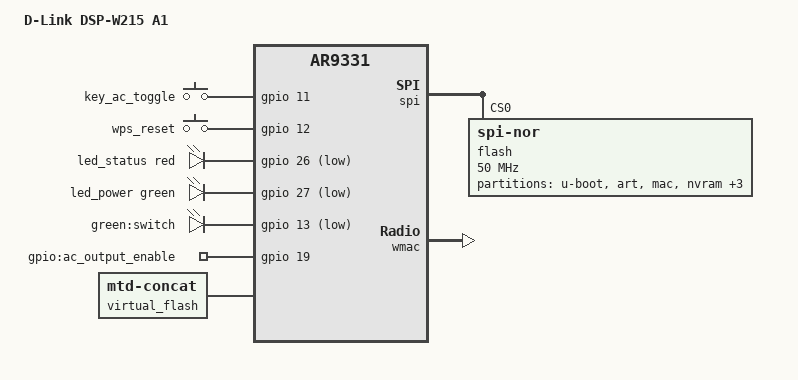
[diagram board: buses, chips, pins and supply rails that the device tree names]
// SPDX-License-Identifier: GPL-2.0-or-later OR MIT

#include <dt-bindings/gpio/gpio.h>
#include <dt-bindings/input/input.h>
#include <dt-bindings/leds/common.h>

#include "ar9331.dtsi"

/ {
	model = "D-Link DSP-W215 A1";
	compatible = "dlink,dsp-w215-a1", "qca,ar9331";

	aliases {
		label-mac-device = &wmac;
		led-boot = &led_power;
		led-failsafe = &led_status;
		led-running = &led_power;
		led-upgrade = &led_status;
	};

	keys {
		compatible = "gpio-keys";

		key_ac_toggle {
			label = "key_ac_toggle";
			linux,code = <BTN_0>;
			gpios = <&gpio 11 GPIO_ACTIVE_HIGH>;
		};

		wps_reset {
			label = "wps_reset";
			linux,code = <KEY_RESTART>;
			gpios = <&gpio 12 GPIO_ACTIVE_HIGH>;
		};
	};

	leds {
		compatible = "gpio-leds";

		led_status: status {
			function = LED_FUNCTION_STATUS;
			color = <LED_COLOR_ID_RED>;
			gpios = <&gpio 26 GPIO_ACTIVE_LOW>;
		};

		led_power: power {
			function = LED_FUNCTION_POWER;
			color = <LED_COLOR_ID_GREEN>;
			gpios = <&gpio 27 GPIO_ACTIVE_LOW>;
			default-state = "on";
		};

		switch {
			label = "green:switch";
			gpios = <&gpio 13 GPIO_ACTIVE_LOW>;
		};
	};

	gpio-export {
		compatible = "gpio-export";

		ac_output_enable {
			gpio-export,name = "gpio:ac_output_enable";
			gpio-export,output = <0>;
			gpios = <&gpio 19 GPIO_ACTIVE_HIGH>;
		};
	};

	virtual_flash {
		compatible = "mtd-concat";
		devices = <&fwconcat0 &fwconcat1>;

		partitions {
			compatible = "fixed-partitions";
			#address-cells = <1>;
			#size-cells = <1>;

			partition@0 {
				reg = <0x0 0x0>;
				label = "firmware";
				compatible = "openwrt,uimage", "denx,uimage";
			};
		};
	};
};

&spi {
	status = "okay";

	flash@0 {
		compatible = "jedec,spi-nor";
		reg = <0>;
		spi-max-frequency = <50000000>;

		partitions {
			compatible = "fixed-partitions";
			#address-cells = <1>;
			#size-cells = <1>;
			partition@0 {
				label = "u-boot";
				reg = <0x0 0x10000>;
				read-only;
			};

			art: partition@10000 {
				label = "art";
				reg = <0x10000 0x10000>;
				read-only;

				nvmem-layout {
					compatible = "fixed-layout";
					#address-cells = <1>;
					#size-cells = <1>;

					cal_art_1000: cal@1000 {
						reg = <0x1000 0x440>;
					};
				};
			};

			partition@20000 {
				label = "mac";
				reg = <0x20000 0x10000>;
				read-only;

				nvmem-layout {
					compatible = "fixed-layout";
					#address-cells = <1>;
					#size-cells = <1>;

					macaddr_mac_4: macaddr@4 {
						reg = <0x4 0x11>;
						#nvmem-cell-cells = <1>;
					};

					label-ssid@2d {
						reg = <0x2d 0x8>;
						#nvmem-cell-cells = <1>;
					};

					label-pin@4e {
						reg = <0x4e 0x6>;
						#nvmem-cell-cells = <1>;
					};
				};
			};

			partition@30000 {
				label = "nvram";
				reg = <0x30000 0x10000>;
				read-only;
			};

			fwconcat0: partition@40000 {
				label = "fwconcat0";
				reg = <0x40000 0x480000>;
			};

			partition@4d0000 {
				label = "recovery";
				reg = <0x4c0000 0x2c0000>;
				read-only;
			};

			fwconcat1: partition@780000 {
				label = "fwconcat1";
				reg = <0x780000 0x80000>;
			};
		};
	};
};

&mdio1 {
	status = "disabled";
};

&eth1 {
	status = "disabled";
};

&wmac {
	status = "okay";

	nvmem-cells = <&macaddr_mac_4>, <&cal_art_1000>;
	nvmem-cell-names = "mac-address", "calibration";
};
